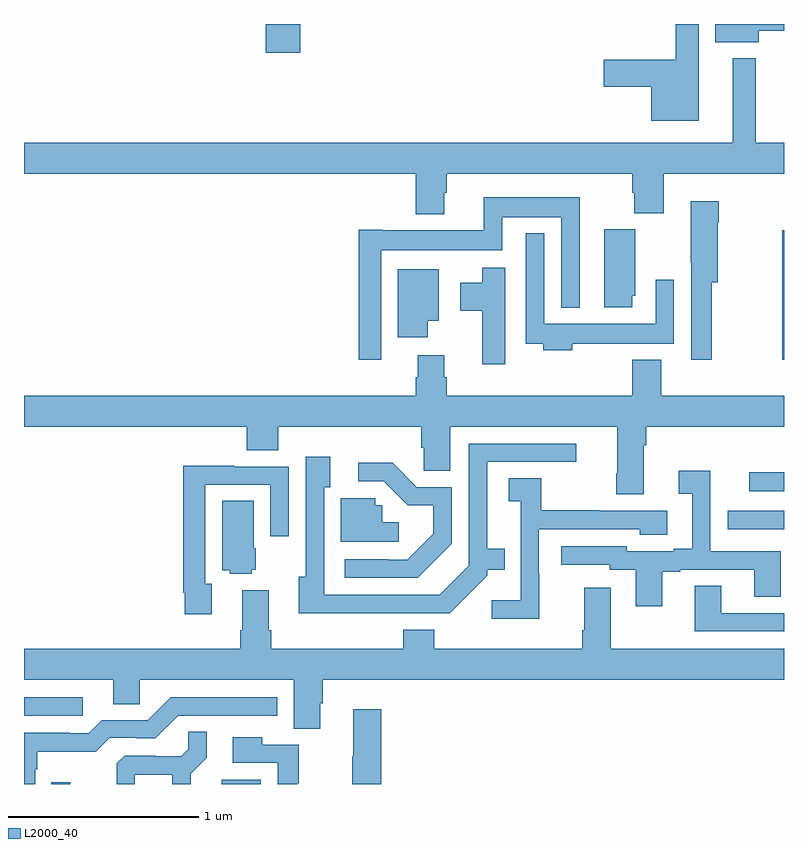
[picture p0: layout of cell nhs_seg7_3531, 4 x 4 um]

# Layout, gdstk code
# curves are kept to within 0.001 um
import gdstk
lib = gdstk.Library(unit=1e-6, precision=1e-09)
def R(c, l, rs):  # rectangles x0, y0, x1, y1
    for r in rs: c.add(gdstk.rectangle(r[:2], r[2:], *l))
def P(c, l, *ps):  # polygons
    for p in ps: c.add(gdstk.Polygon(p, *l))
L2000_40 = (2000, 40)

nhs_seg7_3531 = lib.new_cell('nhs_seg7_3531')
R(nhs_seg7_3531, L2000_40, [(335.143,1068,335.244,1068.01), (336.041,1068,336.247,1068.022), (335,1068.36,335.308,1068.456), (338.817,1069.542,339,1069.641), (338.991,1070.232,339,1070.914), (336.272,1071.849,336.455,1072)])
P(nhs_seg7_3531, L2000_40, [(338.866,1071.964),(339,1071.964),(339,1072),(338.639,1072),(338.639,1071.905),(338.866,1071.905)],
  [(338.551,1072),(338.43,1072),(338.43,1071.812),(338.052,1071.812),(338.052,1071.67),(338.3,1071.67),(338.3,1071.491),(338.551,1071.491)],
  [(337.213,1071.111),(337.226,1071.111),(337.226,1071.212),(338.201,1071.212),(338.201,1071.113),(338.213,1071.113),(338.213,1071.004),(338.366,1071.004),(338.366,1071.212),(339,1071.212),(339,1071.376),(338.851,1071.376),(338.851,1071.82),(338.729,1071.82),(338.729,1071.376),(335,1071.376),(335,1071.212),(337.061,1071.212),(337.061,1070.999),(337.213,1070.999)],
  [(336.879,1070.81),(337.518,1070.81),(337.518,1070.984),(337.827,1070.984),(337.827,1070.507),(337.924,1070.507),(337.924,1071.088),(337.421,1071.088),(337.421,1070.914),(336.886,1070.914),(336.886,1070.917),(336.763,1070.917),(336.763,1070.232),(336.879,1070.232)],
  [(338.62,1070.642),(338.652,1070.642),(338.652,1070.954),(338.657,1070.954),(338.657,1071.067),(338.51,1071.067),(338.51,1070.746),(338.511,1070.746),(338.511,1070.232),(338.62,1070.232)],
  [(338.2,1070.571),(338.218,1070.571),(338.218,1070.919),(338.054,1070.919),(338.054,1070.508),(338.2,1070.508)],
  [(337.886,1070.316),(338.117,1070.316),(338.117,1070.318),(338.421,1070.318),(338.421,1070.653),(338.325,1070.653),(338.325,1070.422),(337.737,1070.422),(337.737,1070.899),(337.641,1070.899),(337.641,1070.316),(337.733,1070.316),(337.733,1070.282),(337.886,1070.282)],
  [(337.534,1070.716),(337.412,1070.716),(337.412,1070.638),(337.295,1070.638),(337.295,1070.491),(337.412,1070.491),(337.412,1070.208),(337.534,1070.208)],
  [(337.126,1070.438),(337.183,1070.438),(337.183,1070.71),(336.968,1070.71),(336.968,1070.352),(337.126,1070.352)],
  [(338.263,1069.784),(338.276,1069.784),(338.276,1069.88),(339,1069.88),(339,1070.044),(338.353,1070.044),(338.353,1070.233),(338.201,1070.233),(338.201,1070.044),(337.226,1070.044),(337.226,1070.142),(337.213,1070.142),(337.213,1070.257),(337.073,1070.257),(337.073,1070.142),(337.061,1070.142),(337.061,1070.044),(335,1070.044),(335,1069.88),(336.173,1069.88),(336.173,1069.756),(336.338,1069.756),(336.338,1069.88),(337.091,1069.88),(337.091,1069.77),(337.105,1069.77),(337.105,1069.648),(337.243,1069.648),(337.243,1069.88),(338.123,1069.88),(338.123,1069.636),(338.116,1069.636),(338.116,1069.524),(338.263,1069.524)],
  [(336.911,1068.9),(337.242,1068.9),(337.437,1069.095),(337.437,1069.127),(337.529,1069.127),(337.529,1069.237),(337.438,1069.237),(337.438,1069.695),(337.906,1069.695),(337.906,1069.791),(337.341,1069.791),(337.341,1069.149),(337.188,1068.996),(336.579,1068.996),(336.579,1069.562),(336.613,1069.562),(336.613,1069.723),(336.483,1069.723),(336.483,1069.09),(336.446,1069.09),(336.446,1068.899)],
  [(337.251,1069.265),(337.251,1069.563),(337.068,1069.563),(336.94,1069.691),(336.759,1069.691),(336.759,1069.593),(336.894,1069.593),(337.021,1069.466),(337.154,1069.466),(337.154,1069.316),(337.017,1069.179),(336.917,1069.179),(336.917,1069.182),(336.687,1069.182),(336.687,1069.086),(337.072,1069.086)],
  [(335.989,1069.055),(335.955,1069.055),(335.955,1069.575),(336.297,1069.575),(336.297,1069.305),(336.393,1069.305),(336.393,1069.671),(336.109,1069.671),(336.109,1069.675),(335.839,1069.675),(335.839,1069.006),(335.847,1069.006),(335.847,1068.894),(335.989,1068.894)],
  [(338.359,1069.116),(338.455,1069.116),(338.455,1069.128),(338.843,1069.128),(338.843,1068.985),(338.983,1068.985),(338.983,1069.224),(338.613,1069.224),(338.613,1069.648),(338.445,1069.648),(338.445,1069.528),(338.516,1069.528),(338.516,1069.237),(338.42,1069.237),(338.42,1069.224),(338.172,1069.224),(338.172,1069.251),(337.827,1069.251),(337.827,1069.155),(338.082,1069.155),(338.082,1069.128),(338.219,1069.128),(338.219,1068.936),(338.359,1068.936)],
  [(337.713,1069.109),(337.71,1069.109),(337.71,1069.341),(338.241,1069.341),(338.241,1069.313),(338.386,1069.313),(338.386,1069.437),(338.027,1069.437),(338.027,1069.44),(337.723,1069.44),(337.723,1069.61),(337.551,1069.61),(337.551,1069.489),(337.614,1069.489),(337.614,1068.967),(337.461,1068.967),(337.461,1068.869),(337.713,1068.869)],
  [(336.973,1069.378),(336.885,1069.378),(336.885,1069.467),(336.849,1069.467),(336.849,1069.503),(336.668,1069.503),(336.668,1069.275),(336.973,1069.275)],
  [(336.198,1069.128),(336.22,1069.128),(336.22,1069.242),(336.208,1069.242),(336.208,1069.49),(336.044,1069.49),(336.044,1069.124),(336.084,1069.124),(336.084,1069.106),(336.198,1069.106)],
  [(339,1069.437),(338.703,1069.437),(338.703,1069.342),(338.815,1069.342),(338.815,1069.341),(339,1069.341)],
  [(339,1068.9),(338.671,1068.9),(338.671,1069.043),(338.531,1069.043),(338.531,1068.804),(339,1068.804)],
  [(336.559,1068.426),(336.572,1068.426),(336.572,1068.548),(339,1068.548),(339,1068.712),(338.089,1068.712),(338.089,1069.033),(337.949,1069.033),(337.949,1068.808),(337.937,1068.808),(337.937,1068.712),(337.16,1068.712),(337.16,1068.811),(336.995,1068.811),(336.995,1068.712),(336.302,1068.712),(336.302,1068.808),(336.289,1068.808),(336.289,1069.021),(336.149,1069.021),(336.149,1068.808),(336.137,1068.808),(336.137,1068.712),(335,1068.712),(335,1068.548),(335.471,1068.548),(335.471,1068.421),(335.61,1068.421),(335.61,1068.548),(336.419,1068.548),(336.419,1068.292),(336.559,1068.292)],
  [(335.058,1068.077),(335.071,1068.077),(335.071,1068.17),(335.378,1068.17),(335.451,1068.243),(335.59,1068.243),(335.59,1068.24),(335.691,1068.24),(335.811,1068.36),(336.334,1068.36),(336.334,1068.456),(335.772,1068.456),(335.652,1068.336),(335.409,1068.336),(335.34,1068.267),(335.24,1068.267),(335.24,1068.27),(335,1068.27),(335,1068),(335.058,1068)],
  [(336.881,1068.394),(336.734,1068.394),(336.734,1068.146),(336.727,1068.146),(336.727,1068),(336.881,1068)],
  [(335.582,1068.05),(335.78,1068.05),(335.78,1068),(335.877,1068),(335.877,1068.053),(335.963,1068.139),(335.963,1068.275),(335.865,1068.275),(335.865,1068.184),(335.828,1068.147),(335.694,1068.147),(335.694,1068.15),(335.529,1068.15),(335.488,1068.109),(335.488,1068),(335.582,1068)],
  [(336.437,1068.004),(336.445,1068.004),(336.445,1068.207),(336.255,1068.207),(336.255,1068.247),(336.099,1068.247),(336.099,1068.111),(336.336,1068.111),(336.336,1068),(336.437,1068)])

lib.write_gds('nhs_seg7_3531.gds')
